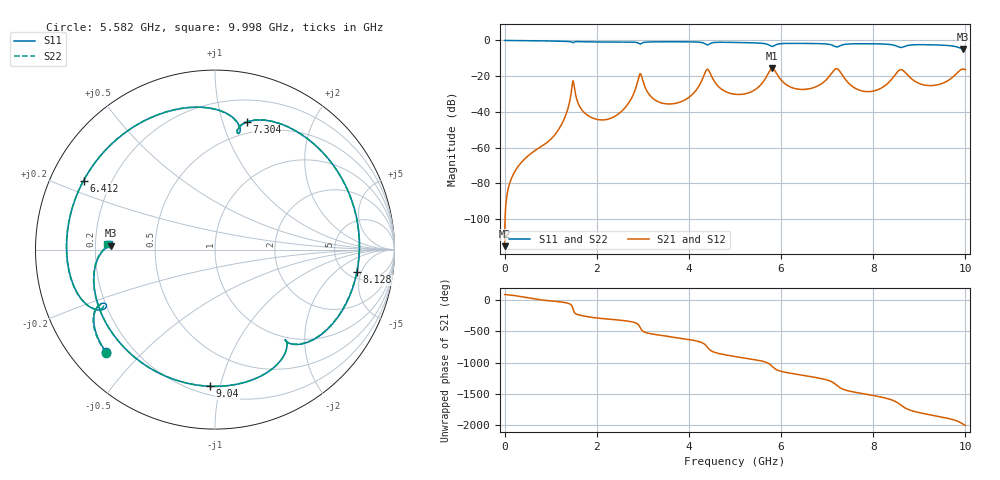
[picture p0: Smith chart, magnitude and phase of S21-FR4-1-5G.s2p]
! TOUCHSTONE file generated by CST MICROWAVE STUDIO
! Date and time: Sun Jun 29 15:04:30 2025
! Project name: ResonadorAnillo.cst
! Parameters = {Eeff=3.2499; Er=4.3; H=1.56; L1=27.7354; L2=27.7354; Landa=110.942; T=0.035; W=2.85151; Wa=2.85151; X=76.5793; Y=76.5793; c=3e+11; f=1.5e+09; r=17.6569; s=0.3}
! Header version: 2024
! Port assignment regex: !\s*Touchstone port\s*([0-9]+)\s*=\s*(CST MWS port|CST DES external port|CST DES block port)\s*(.+)\s* \(\"(.*)\"\)(\s*mode\s*([0-9]+))?.*
! Touchstone port assignment:
! Touchstone port 1 = CST MWS port 1 ("")
! Touchstone port 2 = CST MWS port 2 ("")
# GHz S DB R 50
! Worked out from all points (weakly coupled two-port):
!   5000 points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, 2 MHz to 10 GHz, reference 50 ohm
!   highest |S21| = -15.60 dB at 5.81 GHz (marker M1); lowest = -115.2 dB at 2 MHz (marker M2)
!   lowest |S11| = -4.7 dB at 9.956 GHz (marker M3), VSWR 3.78, Z = 13.2 + j0.868 ohm
!   |S11| at or under -10 dB: nowhere
!   |S22| runs from -4.6 to 0.0 dB; largest |S21 - S12| = 1.1e-11
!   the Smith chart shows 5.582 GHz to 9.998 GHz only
!   S11 on the Smith chart (normalised r, x): 5.582 GHz: 0.11, -0.39; 6.412 GHz: 0.10, +0.24; 7.304 GHz: 0.39, +1.20; 8.128 GHz: 6.03, -4.22; 9.04 GHz: 0.26, -0.93; 9.998 GHz: 0.26, +0.02
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0.002  -0.00 -0.2  -115.19 89.5  -115.19 89.5  -0.00 -0.2
1.134  -0.38 -99.2  -51.38 -21.1  -51.38 -21.1  -0.38 -99.2
1.482  -1.30 -130.1  -22.89 -127.5  -22.89 -127.5  -1.28 -130.0
1.67  -0.70 -145.6  -38.59 114.4  -38.59 114.4  -0.68 -145.6
2.384  -0.92 152.0  -42.61 49.2  -42.61 49.2  -0.92 152.0
2.946  -2.04 104.0  -18.59 -80.7  -18.59 -80.7  -2.05 104.2
3.336  -0.77 69.8  -34.33 164.6  -34.33 164.6  -0.78 69.9
3.956  -0.75 12.4  -32.66 97.0  -32.66 97.0  -0.76 12.4
4.402  -2.47 -26.4  -16.14 -31.3  -16.14 -31.3  -2.48 -26.5
5.002  -1.11 -80.8  -30.13 179.5  -30.13 179.5  -1.11 -81.0
5.582  -1.58 -136.8  -24.19 108.4  -24.19 108.4  -1.56 -136.6
5.81  -3.36 -153.0  -15.60 21.9  -15.60 21.9  -3.15 -153.3
6.412  -1.65 152.3  -27.37 -111.7  -27.37 -111.7  -1.65 152.2
6.668  -1.71 127.5  -26.72 -143.3  -26.72 -143.3  -1.70 127.6
7.304  -2.72 76.0  -18.38 32.1  -18.38 32.1  -2.70 76.1
8.128  -1.93 -9.0  -27.27 -100.6  -27.27 -100.6  -1.94 -8.9
8.334  -2.18 -30.9  -23.57 -136.7  -23.57 -136.7  -2.20 -30.8
8.606  -3.93 -52.0  -16.35 121.4  -16.35 121.4  -3.93 -52.0
9.04  -2.36 -92.2  -24.49 -2.3  -24.49 -2.3  -2.36 -92.4
9.956  -4.71 177.9  -16.01 178.6  -16.01 178.6  -4.57 177.8
9.998  -4.54 177.2  -16.42 160.6  -16.42 160.6  -4.41 176.8
10  -4.53 177.1  -16.46 159.8  -16.46 159.8  -4.40 176.8
